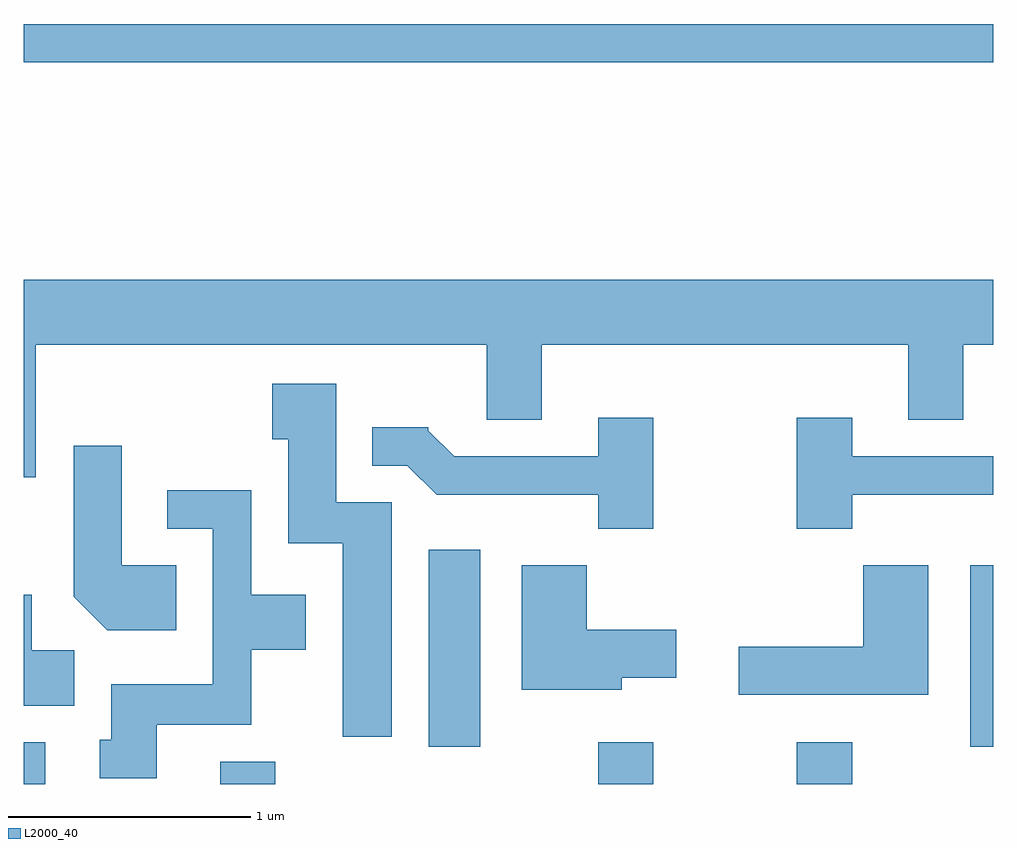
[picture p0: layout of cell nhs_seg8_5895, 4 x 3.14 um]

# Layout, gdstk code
import gdstk
lib = gdstk.Library(unit=1e-6, precision=1e-09)
def R(c, l, rs):  # rectangles x0, y0, x1, y1
    for r in rs: c.add(gdstk.rectangle(r[:2], r[2:], *l))
def P(c, l, *ps):  # polygons
    for p in ps: c.add(gdstk.Polygon(p, *l))
L2000_40 = (2000, 40)

nhs_seg8_5895 = lib.new_cell('nhs_seg8_5895')
R(nhs_seg8_5895, L2000_40, [(361.611,1872.342,361.699,1872.514), (362.421,1872.342,362.649,1872.434), (363.981,1872.342,364.209,1872.514), (364.801,1872.342,365.029,1872.514), (363.281,1872.496,363.494,1873.309), (365.516,1872.496,365.611,1873.244), (361.611,1875.321,365.611,1875.479)])
P(nhs_seg8_5895, L2000_40, [(361.659,1874.156),(363.521,1874.156),(363.521,1873.846),(363.749,1873.846),(363.749,1874.156),(365.261,1874.156),(365.261,1873.846),(365.489,1873.846),(365.489,1874.156),(365.611,1874.156),(365.611,1874.424),(361.611,1874.424),(361.611,1873.608),(361.659,1873.608)],
  [(363.129,1873.504),(362.899,1873.504),(362.899,1873.994),(362.636,1873.994),(362.636,1873.766),(362.701,1873.766),(362.701,1873.336),(362.926,1873.336),(362.926,1872.536),(363.129,1872.536)],
  [(365.029,1873.536),(365.611,1873.536),(365.611,1873.694),(365.029,1873.694),(365.029,1873.854),(364.801,1873.854),(364.801,1873.396),(365.029,1873.396)],
  [(364.209,1873.854),(363.981,1873.854),(363.981,1873.694),(363.387,1873.694),(363.28,1873.801),(363.28,1873.814),(363.048,1873.814),(363.048,1873.656),(363.194,1873.656),(363.314,1873.536),(363.981,1873.536),(363.981,1873.396),(364.209,1873.396)],
  [(362.239,1873.244),(362.014,1873.244),(362.014,1873.739),(361.816,1873.739),(361.816,1873.114),(361.954,1872.976),(362.239,1872.976)],
  [(362.159,1872.586),(362.549,1872.586),(362.549,1872.896),(362.774,1872.896),(362.774,1873.124),(362.549,1873.124),(362.549,1873.554),(362.203,1873.554),(362.203,1873.396),(362.391,1873.396),(362.391,1872.754),(361.971,1872.754),(361.971,1872.524),(361.923,1872.524),(361.923,1872.366),(362.159,1872.366)],
  [(365.344,1873.244),(365.076,1873.244),(365.076,1872.909),(364.561,1872.909),(364.561,1872.711),(365.344,1872.711)],
  [(364.079,1872.781),(364.304,1872.781),(364.304,1872.979),(363.934,1872.979),(363.934,1873.244),(363.666,1873.244),(363.666,1872.731),(364.079,1872.731)],
  [(361.819,1872.894),(361.644,1872.894),(361.644,1873.124),(361.611,1873.124),(361.611,1872.666),(361.819,1872.666)])

lib.write_gds('nhs_seg8_5895.gds')
